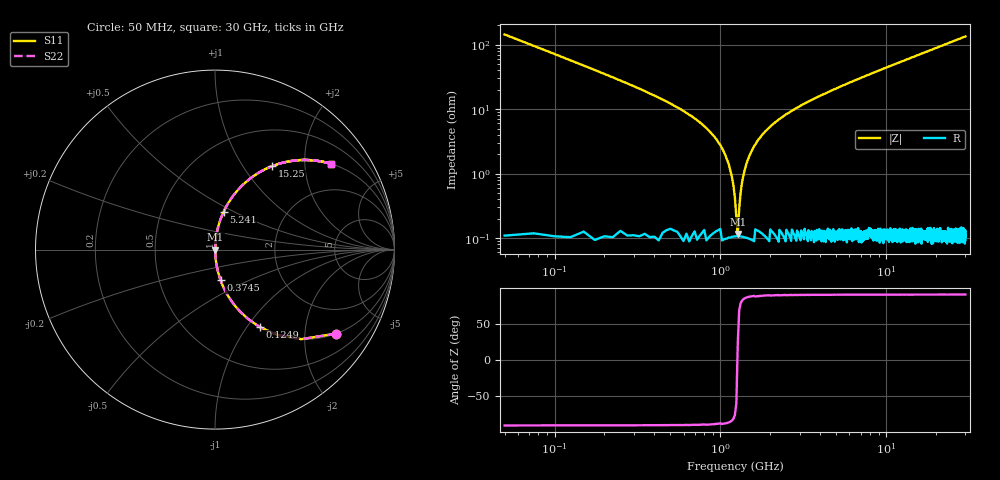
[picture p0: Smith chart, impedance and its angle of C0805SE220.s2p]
! AVX Thin Film Operation		Date: April 2012
! Description: Accu-P® Series, Thin Film, SMD, RF Capacitor
! Part Number: 08055J220FBTTR
!	50	MHz	-	20.05	GHz
!	Serial	Measurements
#	MHZ	S	MA	R	50
!	S11	S21	S12	S22
!	dB	Phase	dB	Phase	dB	Phase	dB	Phase
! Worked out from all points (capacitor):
!   1201 points, 50 MHz to 30 GHz, reference 50 ohm
!   read as one part in series: C = 22 pF near 199.8 MHz
!   lowest |Z| = 116 mohm at 1.273 GHz (marker M1)
!   series resonance near 1.268 GHz, so ESL is about 720 pH
!   S11 on the Smith chart (normalised r, x): 50 MHz: 1.00, -2.89; 124.9 MHz: 1.00, -1.15; 374.5 MHz: 1.00, -0.35; 5.241 GHz: 1.00, +0.45; 15.25 GHz: 1.00, +1.36; 30 GHz: 1.00, +2.70
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50  0.822 -34.7  0.569 55.3  0.569 55.3  0.822 -34.7
124.875  0.497 -60.1  0.867 29.8  0.867 29.8  0.497 -60.1
249.667  0.268 -74.2  0.962 15.5  0.962 15.5  0.268 -74.2
374.458  0.173 -79.6  0.984 10.0  0.984 10.0  0.173 -79.6
923.542  0.037 -86.1  0.998 2.1  0.998 2.1  0.037 -86.1
1048.333  0.022 -85.8  0.999 1.2  0.999 1.2  0.022 -85.8
1173.125  0.008942 -82.2  0.999 0.5  0.999 0.5  0.008942 -82.2
1272.958  0.001214 21.6  0.999 -0.0  0.999 -0.0  0.001214 21.6
1372.792  0.009132 82.4  0.999 -0.5  0.999 -0.5  0.009132 82.4
1497.583  0.019 85.5  0.999 -1.1  0.999 -1.1  0.019 85.5
1647.333  0.03 86.1  0.998 -1.7  0.998 -1.7  0.03 86.1
1896.917  0.047 85.9  0.998 -2.7  0.998 -2.7  0.047 85.9
2171.458  0.064 85.3  0.997 -3.7  0.997 -3.7  0.064 85.3
3219.708  0.121 82.5  0.991 -7.0  0.991 -7.0  0.121 82.5
5041.667  0.208 77.7  0.977 -12.0  0.977 -12.0  0.208 77.7
5241.333  0.217 77.2  0.975 -12.5  0.975 -12.5  0.217 77.2
10058.29  0.406 65.9  0.913 -24.0  0.913 -24.0  0.406 65.9
15025  0.557 56.1  0.83 -33.8  0.83 -33.8  0.557 56.1
15249.62  0.563 55.7  0.826 -34.2  0.826 -34.2  0.563 55.7
20016.67  0.667 48.1  0.744 -41.9  0.744 -41.9  0.667 48.1
25033.29  0.747 41.6  0.665 -48.3  0.665 -48.3  0.747 41.6
30000  0.803 36.6  0.596 -53.4  0.596 -53.4  0.803 36.6
